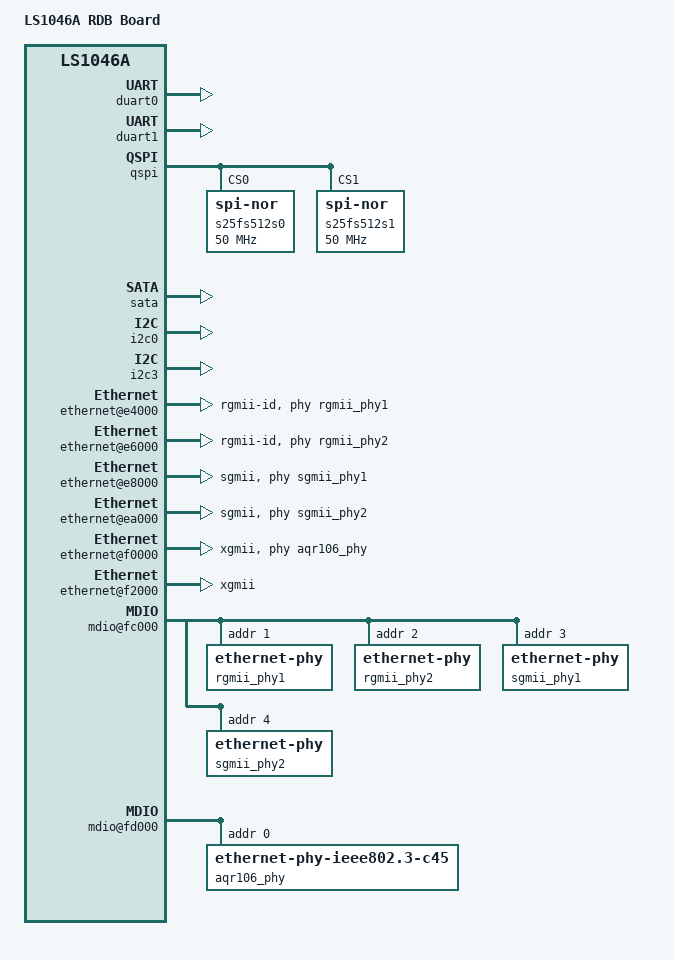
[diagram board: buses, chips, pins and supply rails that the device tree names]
// SPDX-License-Identifier: GPL-2.0+ OR X11
/*
 * Device Tree Include file for Freescale Layerscape-1046A family SoC.
 *
 * Copyright 2016, Freescale Semiconductor
 * Copyright 2020 NXP
 *
 * Mingkai Hu <Mingkai.hu@freescale.com>
 */

/dts-v1/;
#include "fsl-ls1046a.dtsi"

/ {
	model = "LS1046A RDB Board";

	aliases {
		spi0 = &qspi;
		serial0 = &duart0;
		serial1 = &duart1;
		serial2 = &duart2;
		serial3 = &duart3;
	};

};

&duart0 {
	status = "okay";
};

&duart1 {
	status = "okay";
};

&qspi {
	status = "okay";

	s25fs512s0: flash@0 {
		#address-cells = <1>;
		#size-cells = <1>;
		compatible = "jedec,spi-nor";
		spi-max-frequency = <50000000>;
		reg = <0>;
	};

	s25fs512s1: flash@1 {
		#address-cells = <1>;
		#size-cells = <1>;
		compatible = "jedec,spi-nor";
		spi-max-frequency = <50000000>;
		reg = <1>;
	 };
};

&sata {
	status = "okay";
};

&i2c0 {
	status = "okay";
};

&i2c3 {
	status = "okay";
};

#include "fsl-ls1046-post.dtsi"

&fman0 {
	ethernet@e4000 {
		phy-handle = <&rgmii_phy1>;
		phy-connection-type = "rgmii-id";
		status = "okay";
	};

	ethernet@e6000 {
		phy-handle = <&rgmii_phy2>;
		phy-connection-type = "rgmii-id";
		status = "okay";
	};

	ethernet@e8000 {
		phy-handle = <&sgmii_phy1>;
		phy-connection-type = "sgmii";
		status = "okay";
	};

	ethernet@ea000 {
		phy-handle = <&sgmii_phy2>;
		phy-connection-type = "sgmii";
		status = "okay";
	};

	ethernet@f0000 { /* 10GEC1 */
		phy-handle = <&aqr106_phy>;
		phy-connection-type = "xgmii";
		status = "okay";
	};

	ethernet@f2000 { /* 10GEC2 */
		fixed-link = <0 1 1000 0 0>;
		phy-connection-type = "xgmii";
		status = "okay";
	};

	mdio@fc000 {
		rgmii_phy1: ethernet-phy@1 {
			reg = <0x1>;
		};

		rgmii_phy2: ethernet-phy@2 {
			reg = <0x2>;
		};

		sgmii_phy1: ethernet-phy@3 {
			reg = <0x3>;
		};

		sgmii_phy2: ethernet-phy@4 {
			reg = <0x4>;
		};
	};

	mdio@fd000 {
		aqr106_phy: ethernet-phy@0 {
			compatible = "ethernet-phy-ieee802.3-c45";
			interrupts = <0 131 4>;
			reg = <0x0>;
		};
	};
};
